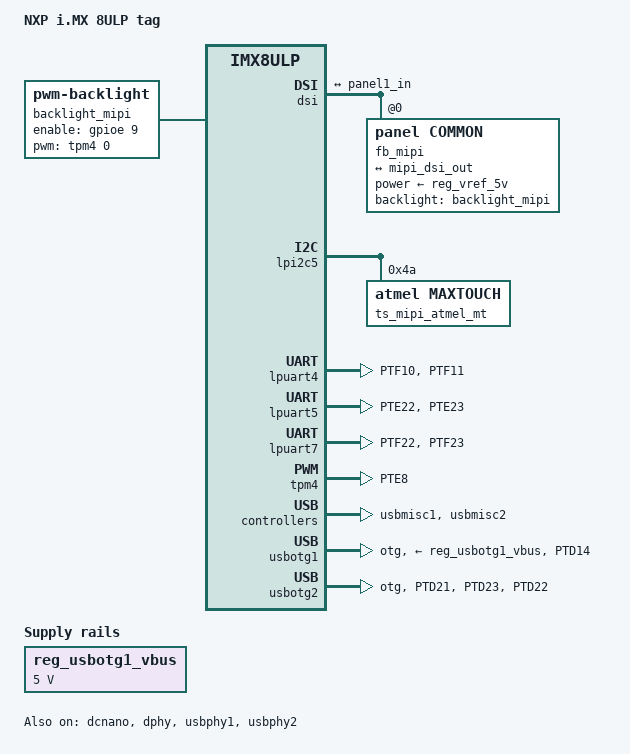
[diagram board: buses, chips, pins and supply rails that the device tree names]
// SPDX-License-Identifier: (GPL-2.0 OR MIT)
/*
 * Copyright 2022 Boundary Devices
 */

/dts-v1/;

#include "imx8ulp-tag-som.dtsi"

&iomuxc1 {
	pinctrl-0 = <&pinctrl_hog_som>, <&pinctrl_hog>;

	pinctrl_hog: hoggrp {
		fsl,pins = <
			MX8ULP_PAD_PTD13__PTD13		0x7
			MX8ULP_PAD_PTD15__PTD15		0x7	/* IMU_IRQ */
			MX8ULP_PAD_PTD16__PTD16		0x7	/* 29 */
			MX8ULP_PAD_PTD17__PTD17		0x7	/* 30 */
			MX8ULP_PAD_PTD18__PTD18		0x7	/* 39 */
			MX8ULP_PAD_PTD19__PTD19		0x7	/* 26 */
			MX8ULP_PAD_PTD20__PTD20		0x7	/* 33 */
			MX8ULP_PAD_PTE0__PTE0		0x7	/* 64 */
			MX8ULP_PAD_PTE2__PTE2		0x7	/* BACK */
			MX8ULP_PAD_PTE3__PTE3		0x7	/* 19 */
			MX8ULP_PAD_PTE6__PTE6		0x7	/* 34 */
			MX8ULP_PAD_PTE9__PTE9		0x7	/* 31 */
			MX8ULP_PAD_PTE10__PTE10		0x7	/* 55 */
			MX8ULP_PAD_PTE14__PTE14		0x7	/* 41 */
			MX8ULP_PAD_PTE16__PTE16		0x7	/* Start */
			MX8ULP_PAD_PTE17__PTE17		0x7	/* Up */
			MX8ULP_PAD_PTE18__PTE18		0x7	/* Right */
			MX8ULP_PAD_PTE19__PTE19		0x7	/* Down */
			MX8ULP_PAD_PTF15__TPM4_CH3	0x7	/* pwm4 */
			MX8ULP_PAD_PTF18__PTF18		0x7	/* 54 */
			MX8ULP_PAD_PTF19__PTF19		0x7	/* 47 */
			MX8ULP_PAD_PTF20__PTF20		0x7	/* 48 */
			MX8ULP_PAD_PTF21__PTF21		0x7	/* 37 */
			MX8ULP_PAD_PTF24__PTF24		0x7	/* 49 */
			MX8ULP_PAD_PTF25__PTF25		0x7	/* 27 */
			MX8ULP_PAD_PTF26__PTF26		0x7	/* 51 */
			MX8ULP_PAD_PTF27__PTF27		0x7	/* 57 */
		>;
	};

	pinctrl_lpspi5: lpspi5grp {
		fsl,pins = <
			MX8ULP_PAD_PTE20__LPSPI5_SIN	0x10043
			MX8ULP_PAD_PTE21__LPSPI5_SOUT	0x00043
			MX8ULP_PAD_PTE22__LPSPI5_SCK	0x00043
			MX8ULP_PAD_PTE23__LPSPI5_PCS0	0x00043
		>;
	};

	pinctrl_lpuart4: lpuart4grp {
		fsl,pins = <
			MX8ULP_PAD_PTF10__LPUART4_TX	0x03
			MX8ULP_PAD_PTF11__LPUART4_RX	0x03
		>;
	};

	pinctrl_lpuart5: lpuart5grp {
		fsl,pins = <
			MX8ULP_PAD_PTE22__LPUART5_TX	0x03
			MX8ULP_PAD_PTE23__LPUART5_RX	0x03
		>;
	};

	pinctrl_lpuart7: lpuart7grp {
		fsl,pins = <
			MX8ULP_PAD_PTF22__LPUART7_TX	0x03
			MX8ULP_PAD_PTF23__LPUART7_RX	0x03
		>;
	};

	pinctrl_mipi_com35h3r04uly: mipi-com35h3r04ulygrp {
		fsl,pins = <
#define GP_LCD_RESET	<&gpioe 7 GPIO_ACTIVE_LOW>
			MX8ULP_PAD_PTE7__PTE7		0x02
		>;
	};

	pinctrl_mipi_q035_014: mipi-q035-014grp {
		fsl,pins = <
#define GP_LCD_RESET	<&gpioe 7 GPIO_ACTIVE_LOW>
			MX8ULP_PAD_PTE7__PTE7		0x02
		>;
	};

	pinctrl_reg_usbotg1_vbus: reg-usbotg1-vbusgrp {
		fsl,pins = <
#define GP_REG_USB_OTG1_VBUS	<&gpiof 28 GPIO_ACTIVE_HIGH>
			MX8ULP_PAD_PTF28__PTF28		0x03
		>;
	};

	pinctrl_tpm4: tpm4grp {
		fsl,pins = <
			MX8ULP_PAD_PTE8__TPM4_CH0	0x7
		>;
	};

	pinctrl_ts_atmel: ts-atmelgrp {
		fsl,pins = <
#define GPIRQ_TS_ATMEL	<&gpioe 15 IRQ_TYPE_EDGE_FALLING>
#define GP_TS_ATMEL	<&gpioe 15 GPIO_ACTIVE_LOW>
			MX8ULP_PAD_PTE15__PTE15		0x03
#define GP_TS_ATMEL_RESET	<&gpioe 11 GPIO_ACTIVE_LOW>
			MX8ULP_PAD_PTE11__PTE11		0x03
		>;
	};

	pinctrl_usbotg1: usbotg1grp {
		fsl,pins = <
			MX8ULP_PAD_PTD14__USB0_OC	0x10003
		>;
	};

	pinctrl_usbotg2: usbotg2grp {
		fsl,pins = <
			MX8ULP_PAD_PTD21__USB1_PWR	0x00003
			MX8ULP_PAD_PTD23__USB1_ID	0x10003
			MX8ULP_PAD_PTD22__USB1_OC	0x10003
		>;
	};
};

#include "panel-com35h3r04uly.dtsi"
#include "panel-q035-014.dtsi"

/ {
	model = "NXP i.MX 8ULP tag";
	compatible = "boundary,imx8ulp-tag", "fsl,imx8ulp";

	aliases {
		backlight_mipi = &backlight_mipi;
		fb_mipi = &fb_mipi;
		mipi = &fb_mipi;
		mipi_dsi = &dsi;
		mipi_dsi_bridge = &dsi;
		mipi_dsi_phy = &dphy;
		pwm_mipi = &tpm4;
		t_mipi = &t_mipi;
		ts_atmel_mt = &ts_mipi_atmel_mt;
	};

	backlight_mipi: backlight-mipi {
		compatible = "pwm-backlight";
		enable-gpios = <&gpioe 9 GPIO_ACTIVE_HIGH>;
		pwms = <&tpm4 0 50000 0>;
		brightness-levels = <
				0  /*1  2  3  4  5  6  7  8  9
				10 11 12 13 14 15 16 17 18 19*/
				20 21 22 23 24 25 26 27 28 29
				30 31 32 33 34 35 36 37 38 39
				40 41 42 43 44 45 46 47 48 49
				50 51 52 53 54 55 56 57 58 59
				60 61 62 63 64 65 66 67 68 69
				70 71 72 73 74 75 76 77 78 79
				80 81 82 83 84 85 86 87 88 89
				90 91 92 93 94 95 96 97 98 99
				100
				>;
		default-brightness-level = <81>;
		status = "okay";
	};

	chosen {
		stdout-path = &lpuart7;
		bootargs = "console=ttyLP3,115200 earlycon";
	};

	reg_usbotg1_vbus: regulator-usbotg1-vbus {
		compatible = "regulator-fixed";
		pinctrl-names = "default";
		pinctrl-0 = <&pinctrl_reg_usbotg1_vbus>;
		regulator-name = "usb_otg1_vbus";
		regulator-min-microvolt = <5000000>;
		regulator-max-microvolt = <5000000>;
		gpio = GP_REG_USB_OTG1_VBUS;
		enable-active-high;
	};
};

&dcnano {
	status = "okay";
};

&dphy {
	status = "okay";
};

&dsi {
	status = "okay";
	#address-cells = <1>;
	#size-cells = <0>;

	fb_mipi: panel@0 {
		backlight = <&backlight_mipi>;
		bits-per-color = <8>;
		bridge-de-active = <0>;
		bus-format = "rgb888";
		clocks = <&dphy 0>,
			<&pcc5 IMX8ULP_CLK_DC_NANO>;
		clock-names = "mipi_clk", "pixel_clock";
		compatible = "panel,common";
		delay-power-up = <2>;
		dsi-format = "rgb888";
		dsi-lanes = <4>;
		mode-skip-eot;
		mode-video;
		mode-video-burst;
		panel-height-mm = <136>;
		panel-width-mm = <217>;
		power-supply = <&reg_vref_5v>;
		reg = <0>;
		spwg;

		display-timings {
			t_mipi: t-dsi-default {
				/* m101nwwb by default */
				clock-frequency = <70000000>;
				hactive = <1280>;
				vactive = <800>;
				hback-porch = <5>;
				hfront-porch = <123>;
				vback-porch = <3>;
				vfront-porch = <24>;
				hsync-len = <1>;
				vsync-len = <1>;
				hsync-active = <0>;
				vsync-active = <0>;
				de-active = <1>;
			};
		};

		port {
			panel1_in: endpoint {
				remote-endpoint = <&mipi_dsi_out>;
			};
		};
	};

	ports {
		port@1 {
			reg = <1>;

			mipi_dsi_out: endpoint {
				remote-endpoint = <&panel1_in>;
			};
		};
	};
};

&lpi2c5 {
	ts_mipi_atmel_mt: touchscreen@4a {
		compatible = "atmel,maxtouch";
		interrupts-extended = GPIRQ_TS_ATMEL;
		pinctrl-names = "default";
		pinctrl-0 = <&pinctrl_ts_atmel>;
		reg = <0x4a>;
		reset-gpios = GP_TS_ATMEL_RESET;
	};
};

&lpspi5 {
	/* must disable uart5 to use */
	pinctrl-names = "default";
	pinctrl-0 = <&pinctrl_lpspi5>;
	status = "disabled";
};

&lpuart4 {
	/* GPS */
	pinctrl-names = "default", "sleep";
	pinctrl-0 = <&pinctrl_lpuart4>;
	pinctrl-1 = <&pinctrl_lpuart4>;
	status = "okay";
};

&lpuart5 {
	pinctrl-names = "default", "sleep";
	pinctrl-0 = <&pinctrl_lpuart5>;
	pinctrl-1 = <&pinctrl_lpuart5>;
	status = "okay";
};

&lpuart7 {
	/* console */
	/* Let probe happen earlier */
	/delete-property/ dmas;
	/delete-property/ dma-names;
	pinctrl-names = "default", "sleep";
	pinctrl-0 = <&pinctrl_lpuart7>;
	pinctrl-1 = <&pinctrl_lpuart7>;
	status = "okay";
};

&tpm4 {
	pinctrl-names = "default";
	pinctrl-0 = <&pinctrl_tpm4>;
	status = "okay";
};

&usbmisc1 {
	status = "okay";
};

&usbotg1 {
	dr_mode = "otg";
	over-current-active-low;
	pinctrl-names = "default", "sleep";
	pinctrl-0 = <&pinctrl_usbotg1>;
	pinctrl-1 = <&pinctrl_usbotg1>;
	power-active-high;
	status = "okay";
	vbus-supply = <&reg_usbotg1_vbus>;
};

&usbphy1 {
	fsl,tx-d-cal = <88>;
	status = "okay";
};

&usbmisc2 {
	status = "okay";
};

&usbotg2 {
	adp-disable;
	dr_mode = "otg";
	hnp-disable;
	over-current-active-low;
	pinctrl-names = "default", "sleep";
	pinctrl-0 = <&pinctrl_usbotg2>;
	pinctrl-1 = <&pinctrl_usbotg2>;
	srp-disable;
	status = "okay";
};

&usbphy2 {
	fsl,tx-d-cal = <88>;
	status = "okay";
};
